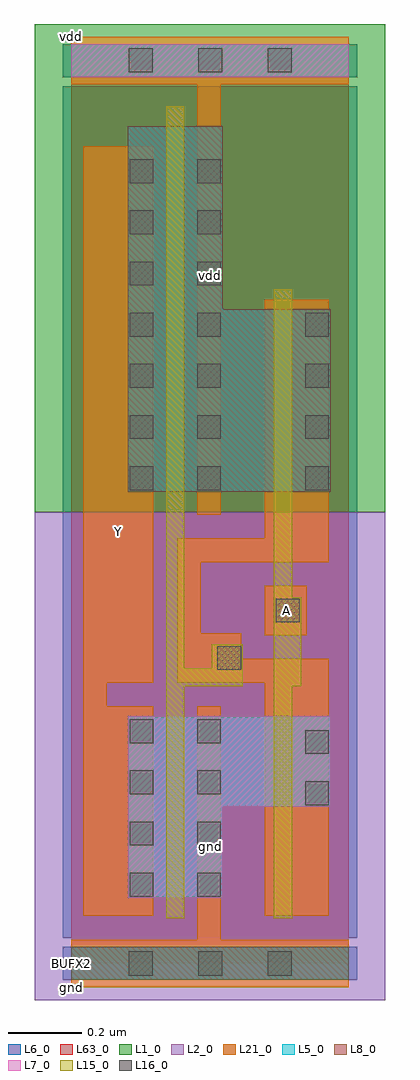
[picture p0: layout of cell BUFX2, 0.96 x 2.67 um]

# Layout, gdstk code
import gdstk
lib = gdstk.Library(unit=1e-6, precision=1e-09)
def R(c, l, rs):  # rectangles x0, y0, x1, y1
    for r in rs: c.add(gdstk.rectangle(r[:2], r[2:], *l))
def A(c, l, x, y, w, h, nx, ny, dx, dy):  # array of equal rectangles
    R(c, l, [(x+i*dx, y+j*dy, x+i*dx+w, y+j*dy+h) for i in range(nx) for j in range(ny)])
def P(c, l, *ps):  # polygons
    for p in ps: c.add(gdstk.Polygon(p, *l))
L1_0 = (1, 0)
L2_0 = (2, 0)
L5_0 = (5, 0)
L6_0 = (6, 0)
L7_0 = (7, 0)
L8_0 = (8, 0)
L15_0 = (15, 0)
L16_0 = (16, 0)
L21_0 = (21, 0)
L63_0 = (63, 0)

bufx2 = lib.new_cell('BUFX2')
R(bufx2, L1_0, [(-0.1,1.235,0.86,2.57)])
R(bufx2, L2_0, [(-0.1,-0.1,0.86,1.235)])
R(bufx2, L5_0, [(0,-0.045,0.76,0.045), (0.155,0.178,0.26,0.678), (0.26,0.178,0.31,0.678), (0.555,0.428,0.605,0.678), (0.605,0.428,0.71,0.678), (0.155,1.29,0.26,2.29), (0.26,1.29,0.31,2.29), (0.555,1.29,0.605,1.79), (0.605,1.29,0.71,1.79), (0,2.425,0.76,2.515)])
P(bufx2, L5_0, [(0.555,0.678),(0.555,0.428),(0.415,0.428),(0.415,0.178),(0.31,0.178),(0.31,0.678)],
  [(0.415,1.79),(0.555,1.79),(0.555,1.29),(0.31,1.29),(0.31,2.29),(0.415,2.29)])
R(bufx2, L6_0, [(-0.023,-0.045,0.783,0.045), (-0.023,-0.045,0.783,0.045), (-0.023,0.07,0.783,1.235), (-0.023,1.235,0.783,2.4), (-0.023,2.425,0.783,2.515), (-0.023,2.425,0.783,2.515)])
R(bufx2, L7_0, [(0.155,0.178,0.26,0.678), (0.26,0.178,0.31,0.678), (0.555,0.428,0.605,0.678), (0.605,0.428,0.71,0.678), (0,2.425,0.76,2.515)])
P(bufx2, L7_0, [(0.555,0.678),(0.555,0.428),(0.415,0.428),(0.415,0.178),(0.31,0.178),(0.31,0.678)])
R(bufx2, L8_0, [(0,-0.045,0.76,0.045), (0.155,1.29,0.26,2.29), (0.26,1.29,0.31,2.29), (0.555,1.29,0.605,1.79), (0.605,1.29,0.71,1.79)])
P(bufx2, L8_0, [(0.415,1.79),(0.555,1.79),(0.555,1.29),(0.31,1.29),(0.31,2.29),(0.415,2.29)])
R(bufx2, L15_0, [(0.26,0.123,0.31,0.178), (0.555,0.123,0.605,0.428), (0.26,0.178,0.31,0.678), (0.555,0.428,0.605,0.678), (0.26,1.29,0.31,2.29), (0.555,1.29,0.605,1.79), (0.555,1.79,0.605,1.845), (0.26,2.29,0.31,2.345)])
P(bufx2, L15_0, [(0.26,1.29),(0.31,1.29),(0.31,0.808),(0.385,0.808),(0.385,0.873),(0.47,0.873),(0.47,0.758),(0.31,0.758),(0.31,0.678),(0.26,0.678)],
  [(0.555,1.29),(0.605,1.29),(0.605,1.002),(0.63,1.002),(0.63,0.758),(0.605,0.758),(0.605,0.678),(0.555,0.678)])
A(bufx2, L16_0, 0.158, -0.033, 0.065, 0.066, 3, 1, 0.19, 0)
A(bufx2, L16_0, 0.16, 0.183, 0.065, 0.065, 1, 4, 0, 0.14)
A(bufx2, L16_0, 0.345, 0.183, 0.065, 0.065, 1, 4, 0, 0.14)
A(bufx2, L16_0, 0.16, 1.295, 0.065, 0.065, 1, 7, 0, 0.14)
A(bufx2, L16_0, 0.345, 1.295, 0.065, 0.065, 1, 7, 0, 0.14)
A(bufx2, L16_0, 0.64, 1.295, 0.065, 0.065, 1, 4, 0, 0.14)
A(bufx2, L16_0, 0.158, 2.438, 0.065, 0.065, 3, 1, 0.19, 0)
R(bufx2, L16_0, [(0.64,0.433,0.705,0.498), (0.64,0.573,0.705,0.638), (0.4,0.803,0.465,0.868), (0.56,0.933,0.625,0.998)])
R(bufx2, L21_0, [(0.53,0.898,0.645,1.033)])
P(bufx2, L21_0, [(0,2.405),(0,2.535),(0.76,2.535),(0.76,2.405),(0.41,2.405),(0.41,1.228),(0.345,1.228),(0.345,2.405)],
  [(0.345,0.065),(0.345,0.703),(0.41,0.703),(0.41,0.065),(0.76,0.065),(0.76,-0.065),(0,-0.065),(0,0.065)],
  [(0.29,0.768),(0.29,1.163),(0.53,1.163),(0.53,1.815),(0.705,1.815),(0.705,1.098),(0.355,1.098),(0.355,0.903),(0.465,0.903),(0.465,0.833),(0.705,0.833),(0.705,0.13),(0.53,0.13),(0.53,0.768)],
  [(0.033,2.235),(0.225,2.235),(0.225,0.768),(0.098,0.768),(0.098,0.703),(0.225,0.703),(0.225,0.13),(0.033,0.13)])
R(bufx2, L63_0, [(0,0,0.76,2.47)])
bufx2.add(gdstk.Label('vdd', (0.38,1.881), layer=21, texttype=1))
bufx2.add(gdstk.Label('gnd', (0.38,0.319), layer=21, texttype=1))
bufx2.add(gdstk.Label('A', (0.588,0.965), layer=21, texttype=1))
bufx2.add(gdstk.Label('Y', (0.129,1.183), layer=21, texttype=1))
bufx2.add(gdstk.Label('vdd', (0,2.535), layer=21, texttype=2))
bufx2.add(gdstk.Label('gnd', (0,-0.065), layer=21, texttype=2))
bufx2.add(gdstk.Label('BUFX2', (0,0), layer=63, texttype=1))

lib.write_gds('BUFX2.gds')
